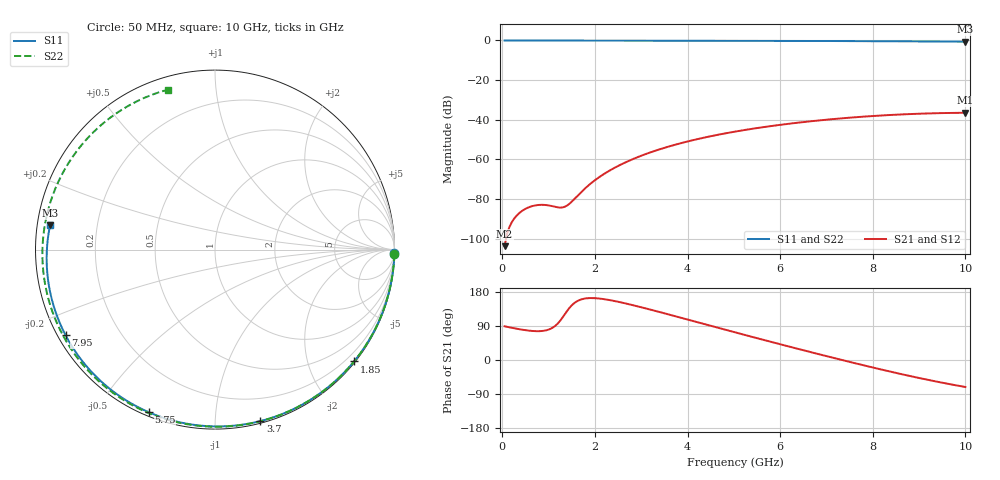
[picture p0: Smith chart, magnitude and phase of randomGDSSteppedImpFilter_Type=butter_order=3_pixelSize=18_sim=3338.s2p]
! freq	dB(S11)	phase(S11)	dB(S12)	phase(S12)
!  dB(S21)	phase(S21)	dB(S22)	phase(S22)
!S-par simulation data
#  GHz  S  DB  R 50
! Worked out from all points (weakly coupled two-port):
!   200 points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, 50 MHz to 10 GHz, reference 50 ohm
!   highest |S21| = -36.46 dB at 10 GHz (marker M1); lowest = -103.7 dB at 50 MHz (marker M2)
!   lowest |S11| = -0.6 dB at 10 GHz (marker M3), VSWR 27.10, Z = 1.85 + j3.64 ohm
!   |S11| at or under -10 dB: nowhere
!   |S22| runs from -0.6 to 0.0 dB; largest |S21 - S12| = 0
!   S11 on the Smith chart (normalised r, x): 50 MHz: open; 1.85 GHz: 0.03, -2.84; 3.7 GHz: 0.02, -1.30; 5.75 GHz: 0.02, -0.67; 7.95 GHz: 0.02, -0.27; 10 GHz: 0.04, +0.07
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0.05  -0.00 -1.1  -103.70 88.9  -103.70 88.9  -0.00 -1.5
0.4  -0.01 -8.5  -86.37 80.6  -86.37 80.6  -0.02 -11.9
0.75  -0.02 -15.9  -83.01 76.0  -83.01 76.0  -0.03 -22.1
1.55  -0.04 -32.6  -80.08 149.8  -80.08 149.8  -0.06 -45.1
1.75  -0.05 -36.8  -75.39 161.4  -75.39 161.4  -0.06 -50.7
1.85  -0.05 -38.8  -73.28 163.1  -73.28 163.1  -0.07 -53.5
2.15  -0.06 -44.9  -68.00 161.4  -68.00 161.4  -0.08 -61.7
2.5  -0.07 -51.9  -63.27 153.7  -63.27 153.7  -0.09 -71.0
2.9  -0.08 -59.8  -59.03 142.3  -59.03 142.3  -0.10 -81.4
3.4  -0.09 -69.5  -54.85 126.5  -54.85 126.5  -0.12 -94.1
3.7  -0.10 -75.2  -52.77 116.7  -52.77 116.7  -0.13 -101.5
4.35  -0.12 -87.2  -49.02 95.2  -49.02 95.2  -0.16 -117.0
5.05  -0.15 -99.9  -45.85 72.2  -45.85 72.2  -0.19 -133.2
5.75  -0.19 -112.2  -43.32 49.5  -43.32 49.5  -0.24 -149.0
6.25  -0.22 -120.9  -41.82 33.6  -41.82 33.6  -0.27 -160.3
6.7  -0.25 -128.6  -40.64 19.5  -40.64 19.5  -0.31 -170.5
7.35  -0.30 -139.8  -39.22 -0.5  -39.22 -0.5  -0.36 174.6
7.95  -0.36 -150.2  -38.16 -18.3  -38.16 -18.3  -0.42 160.4
8.35  -0.40 -157.2  -37.60 -29.8  -37.60 -29.8  -0.46 150.6
9.15  -0.50 -171.8  -36.81 -51.3  -36.81 -51.3  -0.54 130.0
9.6  -0.57 179.6  -36.56 -62.3  -36.56 -62.3  -0.59 117.8
10  -0.64 171.7  -36.46 -71.3  -36.46 -71.3  -0.64 106.5
